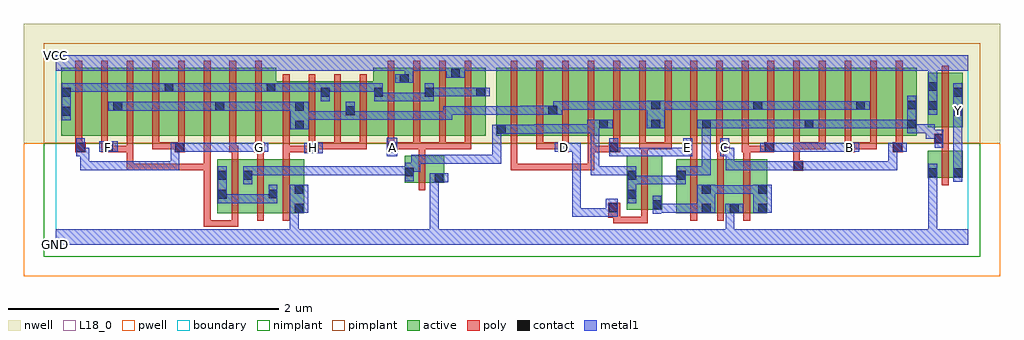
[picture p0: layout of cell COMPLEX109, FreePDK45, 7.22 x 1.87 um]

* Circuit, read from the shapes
.subckt COMPLEX109 A B C D E F G GND H VCC Y
M1 n1 F n2 VSUBS nfet w=0.4u l=0.05u
M2 n2 G n1 VSUBS nfet w=0.4u l=0.05u
M3 GND H n2 VSUBS nfet w=0.4u l=0.05u
M4 GND A n1 VSUBS nfet w=0.2u l=0.05u
M5 n3 D n1 VSUBS nfet w=0.4u l=0.05u
M6 n3 E n1 VSUBS nfet w=0.4u l=0.05u
M7 GND C n3 VSUBS nfet w=0.4u l=0.05u
M8 n3 B GND VSUBS nfet w=0.4u l=0.05u
M9 Y n1 GND VSUBS nfet w=0.2u l=0.05u
M10 n4 G n5 n6 pfet w=0.5u l=0.05u
M11 n7 F n4 n6 pfet w=0.5u l=0.05u
M12 n8 F n7 n6 pfet w=0.5u l=0.05u
M13 n5 G n8 n6 pfet w=0.5u l=0.05u
M14 n9 G n5 n6 pfet w=0.5u l=0.05u
M15 n7 F n9 n6 pfet w=0.5u l=0.05u
M16 n10 F n7 n6 pfet w=0.5u l=0.05u
M17 n5 G n10 n6 pfet w=0.5u l=0.05u
M18 n7 H n5 n6 pfet w=0.4u l=0.05u m=4
M19 VCC A n5 n6 pfet w=0.5u l=0.05u m=4
M20 n11 E n1 n6 pfet w=0.5u l=0.05u
M21 n7 D n11 n6 pfet w=0.5u l=0.05u
M22 n12 D n7 n6 pfet w=0.5u l=0.05u
M23 n1 E n12 n6 pfet w=0.5u l=0.05u
M24 n13 E n1 n6 pfet w=0.5u l=0.05u
M25 n7 D n13 n6 pfet w=0.5u l=0.05u
M26 n14 D n7 n6 pfet w=0.5u l=0.05u
M27 n1 E n14 n6 pfet w=0.5u l=0.05u
M28 n15 C n1 n6 pfet w=0.5u l=0.05u
M29 n7 B n15 n6 pfet w=0.5u l=0.05u
M30 n16 B n7 n6 pfet w=0.5u l=0.05u
M31 n1 C n16 n6 pfet w=0.5u l=0.05u
M32 n17 C n1 n6 pfet w=0.5u l=0.05u
M33 n7 B n17 n6 pfet w=0.5u l=0.05u
M34 n18 B n7 n6 pfet w=0.5u l=0.05u
M35 n1 C n18 n6 pfet w=0.5u l=0.05u
M36 Y n1 VCC n6 pfet w=0.4u l=0.05u
.ends

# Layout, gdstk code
import gdstk
lib = gdstk.Library(unit=1e-6, precision=1e-09)
def R(c, l, rs):  # rectangles x0, y0, x1, y1
    for r in rs: c.add(gdstk.rectangle(r[:2], r[2:], *l))
def A(c, l, x, y, w, h, nx, ny, dx, dy):  # array of equal rectangles
    R(c, l, [(x+i*dx, y+j*dy, x+i*dx+w, y+j*dy+h) for i in range(nx) for j in range(ny)])
active = (1, 0)
pwell = (2, 0)
nwell = (3, 0)
nimplant = (4, 0)
pimplant = (5, 0)
poly = (9, 0)
contact = (10, 0)
metal1 = (11, 0)
L18_0 = (18, 0)
boundary = (235, 0)

complex109 = lib.new_cell('COMPLEX109')
A(complex109, active, 0.04, 0.807, 0.225, 0.5, 3, 1, 0.38, 0)
A(complex109, active, 5.005, 0.807, 0.225, 0.5, 4, 1, 0.38, 0)
A(complex109, active, 5.155, 0.807, 0.23, 0.5, 3, 1, 0.38, 0)
R(complex109, active, [(1.195,0.232,1.27,0.632), (1.195,0.232,1.457,0.632), (1.382,0.232,1.645,0.632), (1.57,0.232,1.645,0.492), (1.57,0.232,1.837,0.632), (1.762,0.232,1.837,0.492), (4.59,0.232,4.85,0.632), (4.775,0.232,4.85,0.492), (4.775,0.232,5.057,0.632), (4.982,0.232,5.057,0.492), (4.982,0.232,5.265,0.632), (5.19,0.232,5.265,0.492), (4.225,0.257,4.485,0.657), (4.225,0.257,4.3,0.657), (4.41,0.257,4.485,0.657), (1.382,0.295,1.457,0.632), (4.59,0.295,4.665,0.632), (2.58,0.457,2.655,0.657), (2.58,0.457,2.872,0.657), (2.797,0.457,2.872,0.657), (6.45,0.495,6.525,0.695), (6.45,0.495,6.71,0.695), (6.635,0.495,6.71,0.695), (0.04,0.807,0.145,1.2), (0.265,0.807,0.495,1.307), (0.42,0.807,0.495,1.07), (0.645,0.807,0.875,1.307), (0.8,0.807,0.875,1.2), (1.025,0.807,1.25,1.307), (1.175,0.807,1.405,1.307), (1.175,0.807,1.25,1.07), (1.405,0.807,1.63,1.307), (1.555,0.807,1.84,1.207), (1.765,0.807,2.03,1.207), (1.955,0.807,2.215,1.207), (2.14,0.807,2.425,1.207), (2.35,0.807,2.615,1.307), (2.54,0.807,2.8,1.307), (2.54,0.807,2.615,1.307), (2.725,0.807,2.8,1.2), (2.725,0.807,2.995,1.307), (2.92,0.807,3.18,1.307), (2.92,0.807,2.995,1.307), (3.105,0.807,3.18,1.2), (3.26,0.807,3.485,1.307), (3.26,0.807,3.365,0.94), (3.485,0.807,3.715,1.307), (3.64,0.807,3.715,1.2), (3.64,0.807,3.865,1.307), (3.865,0.807,4.09,1.307), (4.015,0.807,4.245,1.307), (4.015,0.807,4.09,1.07), (4.245,0.807,4.475,1.307), (4.4,0.807,4.475,1.2), (4.4,0.807,4.625,1.307), (4.625,0.807,4.852,1.307), (4.777,0.807,4.852,1.07), (4.777,0.807,5.005,1.307), (5.155,0.807,5.23,1.2), (5.535,0.807,5.61,1.07), (5.915,0.807,5.99,1.2), (6.295,0.807,6.37,1.2), (1.765,0.822,1.84,1.07), (2.14,0.822,2.215,1.07), (6.45,0.87,6.71,1.27), (6.45,0.87,6.525,1.27), (6.635,0.87,6.71,1.2), (1.555,0.907,1.63,1.2), (1.955,0.907,2.03,1.2), (2.35,0.907,2.425,1.2)])
R(complex109, pwell, [(-0.235,-0.235,6.985,0.75)])
R(complex109, nwell, [(-0.235,0.75,6.985,1.635)])
R(complex109, nimplant, [(-0.09,-0.09,6.84,0.75)])
R(complex109, pimplant, [(-0.09,0.75,6.84,1.49)])
A(complex109, poly, 1.3, 0.177, 0.05, 0.51, 3, 1, 0.19, 0)
A(complex109, poly, 1.3, 0.637, 0.05, 0.095, 3, 1, 0.19, 0)
A(complex109, poly, 0.715, 0.707, 0.05, 0.095, 3, 1, 0.19, 0)
A(complex109, poly, 1.87, 0.707, 0.05, 0.095, 3, 1, 0.19, 0)
A(complex109, poly, 2.455, 0.707, 0.05, 0.095, 4, 1, 0.19, 0)
A(complex109, poly, 4.125, 0.707, 0.05, 0.095, 5, 1, 0.19, 0)
A(complex109, poly, 5.265, 0.707, 0.05, 0.095, 6, 1, 0.19, 0)
A(complex109, poly, 0.145, 0.752, 0.05, 0.61, 8, 1, 0.19, 0)
A(complex109, poly, 1.68, 0.752, 0.05, 0.51, 4, 1, 0.19, 0)
A(complex109, poly, 2.455, 0.752, 0.05, 0.61, 4, 1, 0.19, 0)
A(complex109, poly, 3.365, 0.752, 0.05, 0.61, 16, 1, 0.19, 0)
R(complex109, poly, [(1.095,0.132,1.145,0.182), (1.095,0.132,1.145,0.182), (1.095,0.132,1.145,0.182), (1.095,0.132,1.145,0.182), (1.095,0.132,1.145,0.182), (1.095,0.132,1.35,0.182), (1.095,0.132,1.145,0.6), (1.3,0.132,1.35,0.227), (1.3,0.132,1.35,0.182), (4.125,0.157,4.175,0.207), (4.125,0.157,4.38,0.207), (4.125,0.157,4.175,0.25), (4.33,0.157,4.38,0.252), (4.33,0.157,4.38,0.207), (4.33,0.157,4.38,0.207), (4.33,0.157,4.38,0.207), (4.695,0.177,4.745,0.687), (4.892,0.177,4.942,0.687), (5.087,0.177,5.137,0.687), (4.087,0.2,4.175,0.31), (4.125,0.2,4.175,0.25), (4.125,0.2,4.175,0.25), (4.33,0.202,4.38,0.712), (2.685,0.402,2.735,0.712), (6.555,0.44,6.605,0.75), (5.455,0.545,5.53,0.62), (0.525,0.55,0.575,0.6), (0.525,0.55,0.575,0.6), (0.525,0.55,0.575,0.6), (0.525,0.55,0.575,0.6), (0.525,0.55,0.575,0.6), (0.525,0.55,0.575,0.732), (0.525,0.55,0.707,0.6), (0.657,0.55,0.707,0.6), (0.657,0.55,0.707,0.6), (0.657,0.55,0.707,0.6), (0.657,0.55,0.897,0.6), (0.847,0.55,0.897,0.6), (0.847,0.55,0.897,0.6), (0.847,0.55,0.897,0.6), (0.847,0.55,1.145,0.6), (1.095,0.55,1.145,0.6), (1.095,0.55,1.145,0.6), (1.095,0.55,1.145,0.6), (1.095,0.55,1.145,0.6), (1.095,0.55,1.145,0.6), (1.095,0.55,1.145,0.757), (3.365,0.55,3.415,0.6), (3.365,0.55,3.415,0.6), (3.365,0.55,3.415,0.6), (3.365,0.55,3.415,0.6), (3.365,0.55,3.415,0.6), (3.365,0.55,3.415,0.6), (3.365,0.55,3.415,0.6), (3.365,0.55,3.547,0.6), (3.365,0.55,3.415,0.802), (3.497,0.55,3.547,0.6), (3.497,0.55,3.737,0.6), (3.687,0.55,3.737,0.6), (3.687,0.55,3.737,0.6), (3.687,0.55,3.737,0.6), (3.687,0.55,3.985,0.6), (3.935,0.55,3.985,0.6), (3.935,0.55,3.985,0.6), (3.935,0.55,3.985,0.6), (3.935,0.55,3.985,0.732), (5.455,0.57,5.505,0.62), (5.455,0.57,5.505,0.62), (5.455,0.57,5.505,0.757), (4.695,0.637,4.745,0.732), (4.892,0.637,4.942,0.732), (5.087,0.637,5.137,0.732), (2.685,0.662,2.735,0.757), (4.33,0.662,4.38,0.757), (0.145,0.682,0.22,0.757), (0.335,0.682,0.427,0.757), (0.377,0.682,0.427,0.732), (0.377,0.682,0.427,0.732), (0.377,0.682,0.575,0.732), (0.525,0.682,0.575,0.732), (0.525,0.682,0.575,0.802), (0.88,0.682,0.955,0.757), (1.285,0.682,1.335,0.802), (1.285,0.682,1.35,0.732), (1.467,0.682,1.542,0.757), (1.68,0.682,1.73,0.732), (1.68,0.682,1.92,0.732), (1.68,0.682,1.73,0.802), (1.87,0.682,1.945,0.757), (1.87,0.682,1.92,0.732), (1.87,0.682,1.92,0.732), (2.455,0.682,2.53,0.757), (3.72,0.682,3.795,0.757), (3.935,0.682,3.985,0.732), (3.935,0.682,3.985,0.732), (3.935,0.682,3.985,0.732), (3.935,0.682,3.985,0.802), (3.935,0.682,4.14,0.732), (4.09,0.682,4.14,0.732), (4.09,0.682,4.14,0.732), (4.09,0.682,4.175,0.757), (4.637,0.682,4.745,0.757), (4.885,0.682,4.987,0.757), (5.075,0.682,5.125,0.802), (5.075,0.682,5.137,0.732), (5.087,0.682,5.137,0.732), (5.087,0.682,5.137,0.732), (5.087,0.682,5.29,0.732), (5.24,0.682,5.315,0.757), (5.835,0.682,5.912,0.757), (6.19,0.682,6.265,0.757), (6.555,0.7,6.605,0.795), (0.145,0.707,0.195,0.802), (0.335,0.707,0.385,0.802), (0.715,0.707,0.765,0.757), (0.715,0.707,0.765,0.757), (0.715,0.707,0.765,0.757), (0.715,0.707,0.93,0.757), (1.095,0.707,1.145,0.757), (1.475,0.707,1.525,0.802), (1.895,0.707,2.11,0.757), (2.06,0.707,2.11,0.757), (2.06,0.707,2.11,0.757), (2.06,0.707,2.11,0.757), (2.06,0.707,2.3,0.757), (2.25,0.707,2.3,0.757), (2.25,0.707,2.3,0.757), (2.25,0.707,2.3,0.757), (2.48,0.707,2.53,0.757), (2.48,0.707,2.53,0.757), (2.48,0.707,2.695,0.757), (2.645,0.707,2.735,0.757), (2.685,0.707,2.885,0.757), (2.835,0.707,2.885,0.757), (2.835,0.707,2.885,0.757), (2.835,0.707,2.885,0.757), (2.835,0.707,3.075,0.757), (3.025,0.707,3.075,0.757), (3.025,0.707,3.075,0.757), (3.025,0.707,3.075,0.757), (3.555,0.707,3.605,0.802), (3.555,0.707,3.605,0.757), (3.555,0.707,3.605,0.757), (3.555,0.707,3.605,0.757), (3.555,0.707,3.77,0.757), (3.745,0.707,3.795,0.802), (4.315,0.707,4.38,0.757), (4.33,0.707,4.555,0.757), (4.505,0.707,4.555,0.757), (4.505,0.707,4.555,0.757), (4.505,0.707,4.555,0.757), (5.455,0.707,5.505,0.757), (5.455,0.707,5.505,0.757), (5.455,0.707,5.505,0.757), (5.455,0.707,5.695,0.757), (5.645,0.707,5.695,0.757), (5.862,0.707,6.075,0.757), (5.862,0.707,5.912,0.757), (5.862,0.707,5.912,0.757), (6.025,0.707,6.075,0.757), (6.497,0.745,6.605,0.82), (6.555,0.77,6.605,0.865), (6.555,0.815,6.605,1.325)])
R(complex109, contact, [(1.767,0.237,1.832,0.302), (4.78,0.237,4.845,0.302), (4.987,0.237,5.052,0.302), (5.195,0.237,5.26,0.302), (4.092,0.24,4.157,0.305), (4.415,0.262,4.48,0.327), (1.2,0.34,1.265,0.405), (4.23,0.34,4.295,0.405), (1.575,0.342,1.64,0.407), (1.767,0.377,1.832,0.442), (4.78,0.377,4.845,0.442), (5.195,0.377,5.26,0.442), (2.802,0.462,2.867,0.527), (1.2,0.48,1.265,0.545), (1.387,0.48,1.452,0.545), (4.23,0.48,4.295,0.545), (4.595,0.48,4.66,0.545), (6.455,0.5,6.52,0.565), (6.64,0.5,6.705,0.565), (2.585,0.505,2.65,0.57), (5.46,0.55,5.525,0.615), (0.15,0.687,0.215,0.752), (0.357,0.687,0.422,0.752), (0.885,0.687,0.95,0.752), (1.472,0.687,1.537,0.752), (1.875,0.687,1.94,0.752), (2.46,0.687,2.525,0.752), (3.725,0.687,3.79,0.752), (4.095,0.687,4.16,0.752), (4.642,0.687,4.707,0.752), (4.917,0.687,4.982,0.752), (5.245,0.687,5.31,0.752), (5.842,0.687,5.907,0.752), (6.195,0.687,6.26,0.752), (6.502,0.75,6.567,0.815), (3.265,0.822,3.33,0.887), (1.77,0.852,1.835,0.917), (4.02,0.86,4.085,0.925), (4.405,0.86,4.47,0.925), (4.782,0.86,4.847,0.925), (5.54,0.86,5.605,0.925), (6.3,0.86,6.365,0.925), (0.045,0.955,0.11,1.02), (6.64,0.955,6.705,1.02), (2.145,0.957,2.21,1.022), (3.645,0.962,3.71,1.027), (0.425,0.992,0.49,1.057), (1.18,0.992,1.245,1.057), (1.77,0.992,1.835,1.057), (5.16,0.997,5.225,1.062), (5.92,0.997,5.985,1.062), (6.455,0.997,6.52,1.062), (4.405,1,4.47,1.065), (6.3,1,6.365,1.065), (0.045,1.095,0.11,1.16), (1.96,1.095,2.025,1.16), (2.355,1.095,2.42,1.16), (2.73,1.095,2.795,1.16), (6.64,1.095,6.705,1.16), (3.11,1.097,3.175,1.162), (0.805,1.13,0.87,1.195), (1.56,1.13,1.625,1.195), (6.455,1.137,6.52,1.202), (2.545,1.197,2.61,1.262), (2.925,1.235,2.99,1.3)])
R(complex109, metal1, [(0,0,6.75,0.115), (1.732,0.05,1.797,0.302), (2.735,0.05,2.8,0.115), (2.735,0.05,2.8,0.115), (2.735,0.05,2.8,0.115), (2.735,0.05,2.8,0.115), (2.735,0.05,2.8,0.115), (2.735,0.05,2.832,0.115), (2.767,0.05,2.832,0.527), (4.955,0.05,5.02,0.115), (4.955,0.05,5.02,0.115), (4.955,0.05,5.02,0.302), (6.455,0.05,6.52,0.115), (6.455,0.05,6.52,0.115), (6.455,0.05,6.52,0.115), (6.455,0.05,6.52,0.115), (6.455,0.05,6.52,0.53), (3.82,0.205,3.885,0.27), (3.82,0.205,3.885,0.27), (3.82,0.205,3.885,0.27), (3.82,0.205,3.965,0.27), (3.82,0.205,3.885,0.752), (3.9,0.205,3.965,0.27), (3.9,0.205,4.135,0.27), (4.07,0.205,4.135,0.27), (4.07,0.205,4.135,0.27), (4.07,0.205,4.157,0.34), (4.415,0.227,4.48,0.362), (1.732,0.237,1.797,0.302), (1.732,0.237,1.797,0.302), (1.732,0.237,1.867,0.442), (4.415,0.237,4.48,0.302), (4.415,0.237,4.48,0.302), (4.415,0.237,4.672,0.302), (4.607,0.237,4.672,0.302), (4.607,0.237,4.672,0.302), (4.607,0.237,4.672,0.302), (4.607,0.237,4.81,0.302), (4.745,0.237,4.88,0.442), (4.952,0.237,5.087,0.302), (5.16,0.237,5.295,0.442), (1.2,0.305,1.265,0.58), (4.23,0.305,4.295,0.58), (1.2,0.307,1.265,0.372), (1.2,0.307,1.265,0.372), (1.2,0.307,1.452,0.372), (1.387,0.307,1.452,0.372), (1.387,0.307,1.452,0.372), (1.387,0.307,1.452,0.372), (1.387,0.307,1.64,0.372), (1.575,0.307,1.64,0.442), (4.815,0.375,4.88,0.44), (4.815,0.375,4.88,0.44), (4.815,0.375,5.02,0.44), (4.955,0.375,5.02,0.44), (4.955,0.375,5.12,0.44), (5.055,0.375,5.12,0.44), (5.055,0.375,5.225,0.44), (1.387,0.445,1.452,0.58), (4.23,0.445,4.297,0.51), (4.232,0.445,4.297,0.51), (4.232,0.445,4.522,0.51), (4.457,0.445,4.522,0.51), (4.457,0.445,4.522,0.51), (4.457,0.445,4.522,0.51), (4.457,0.445,4.66,0.51), (4.595,0.445,4.66,0.58), (2.767,0.462,2.902,0.527), (6.455,0.465,6.52,0.53), (6.455,0.465,6.52,0.53), (6.455,0.465,6.52,0.6), (6.64,0.465,6.705,0.6), (2.585,0.47,2.65,0.605), (1.387,0.515,1.452,0.58), (1.387,0.515,1.452,0.58), (1.387,0.515,1.59,0.58), (1.525,0.515,1.59,0.58), (1.525,0.515,1.59,0.58), (1.525,0.515,1.59,0.58), (1.525,0.515,1.887,0.58), (1.822,0.515,1.887,0.58), (1.822,0.515,1.887,0.58), (1.822,0.515,1.887,0.58), (1.822,0.515,2.025,0.58), (1.96,0.515,2.025,0.58), (1.96,0.515,2.025,0.58), (1.96,0.515,2.025,0.58), (1.96,0.515,2.162,0.58), (2.097,0.515,2.162,0.58), (2.097,0.515,2.162,0.58), (2.097,0.515,2.162,0.58), (2.097,0.515,2.385,0.58), (2.32,0.515,2.385,0.58), (2.32,0.515,2.512,0.58), (2.447,0.515,2.512,0.58), (2.447,0.515,2.65,0.58), (3.957,0.515,4.022,0.58), (3.957,0.515,4.022,0.925), (3.957,0.515,4.155,0.58), (4.09,0.515,4.155,0.58), (4.09,0.515,4.295,0.58), (4.595,0.515,4.66,0.58), (4.595,0.515,4.66,0.58), (4.595,0.515,4.845,0.58), (4.78,0.515,4.845,0.58), (4.78,0.515,4.845,0.925), (6.64,0.535,6.705,0.985), (2.585,0.54,2.695,0.605), (2.63,0.54,2.695,0.665), (0.182,0.55,0.247,0.615), (0.182,0.55,0.385,0.615), (0.182,0.55,0.247,0.717), (0.32,0.55,0.385,0.615), (0.32,0.55,0.385,0.615), (0.32,0.55,0.385,0.615), (0.32,0.55,0.522,0.615), (0.457,0.55,0.522,0.615), (0.457,0.55,0.662,0.615), (0.597,0.55,0.662,0.615), (0.597,0.55,0.662,0.615), (0.597,0.55,0.662,0.615), (0.597,0.55,0.915,0.615), (0.85,0.55,0.915,0.615), (0.85,0.55,0.915,0.752), (4.955,0.55,5.02,0.615), (4.955,0.55,5.122,0.615), (4.955,0.55,5.02,0.717), (5.057,0.55,5.122,0.615), (5.057,0.55,5.26,0.615), (5.195,0.55,5.26,0.615), (5.195,0.55,5.26,0.615), (5.195,0.55,5.26,0.615), (5.195,0.55,5.397,0.615), (5.332,0.55,5.397,0.615), (5.332,0.55,5.397,0.615), (5.332,0.55,5.397,0.615), (5.332,0.55,5.49,0.615), (5.425,0.55,5.56,0.615), (5.495,0.55,5.56,0.615), (5.495,0.55,5.56,0.615), (5.495,0.55,5.707,0.615), (5.642,0.55,5.707,0.615), (5.642,0.55,5.812,0.615), (5.747,0.55,5.812,0.615), (5.747,0.55,5.95,0.615), (5.885,0.55,5.95,0.615), (5.885,0.55,5.982,0.615), (5.917,0.55,5.982,0.615), (5.917,0.55,6.087,0.615), (6.022,0.55,6.087,0.615), (6.022,0.55,6.225,0.615), (6.16,0.55,6.225,0.615), (6.16,0.55,6.225,0.615), (6.16,0.55,6.225,0.615), (6.16,0.55,6.225,0.752), (2.63,0.6,2.787,0.665), (2.722,0.6,2.787,0.665), (2.722,0.6,3.002,0.665), (2.937,0.6,3.002,0.665), (2.937,0.6,3.002,0.665), (2.937,0.6,3.002,0.665), (2.937,0.6,3.14,0.665), (3.075,0.6,3.14,0.665), (3.075,0.6,3.295,0.665), (3.23,0.6,3.295,0.665), (3.23,0.6,3.295,0.887), (0.15,0.652,0.215,0.787), (0.15,0.652,0.247,0.717), (0.182,0.652,0.247,0.717), (2.447,0.652,2.525,0.79), (4.095,0.652,4.16,0.787), (4.095,0.652,4.297,0.717), (4.232,0.652,4.297,0.717), (4.232,0.652,4.297,0.717), (4.232,0.652,4.297,0.717), (4.232,0.652,4.522,0.717), (4.457,0.652,4.522,0.717), (4.457,0.652,4.522,0.717), (4.457,0.652,4.522,0.717), (4.457,0.652,4.672,0.717), (4.607,0.652,4.672,0.717), (4.607,0.652,4.707,0.717), (4.642,0.652,4.707,0.787), (4.917,0.652,4.982,0.787), (4.917,0.652,5.02,0.717), (4.955,0.652,5.02,0.717), (1.837,0.675,1.975,0.752), (0.322,0.687,0.457,0.765), (0.85,0.687,0.915,0.752), (0.85,0.687,0.915,0.752), (0.85,0.687,0.985,0.752), (0.92,0.687,1.072,0.752), (1.007,0.687,1.072,0.752), (1.007,0.687,1.122,0.752), (1.057,0.687,1.122,0.752), (1.057,0.687,1.26,0.752), (1.195,0.687,1.26,0.752), (1.195,0.687,1.26,0.752), (1.195,0.687,1.26,0.752), (1.195,0.687,1.452,0.752), (1.387,0.687,1.452,0.752), (1.387,0.687,1.502,0.752), (1.437,0.687,1.572,0.752), (3.69,0.687,3.827,0.752), (3.762,0.687,3.885,0.752), (3.82,0.687,3.885,0.752), (3.82,0.687,3.885,0.752), (3.82,0.687,3.885,0.752), (5.21,0.687,5.345,0.752), (5.28,0.687,5.397,0.752), (5.332,0.687,5.397,0.752), (5.332,0.687,5.57,0.752), (5.505,0.687,5.57,0.752), (5.505,0.687,5.57,0.752), (5.505,0.687,5.57,0.752), (5.505,0.687,5.707,0.752), (5.642,0.687,5.707,0.752), (5.642,0.687,5.812,0.752), (5.747,0.687,5.812,0.752), (5.747,0.687,5.872,0.752), (5.807,0.687,5.942,0.752), (6.16,0.687,6.225,0.752), (6.16,0.687,6.225,0.752), (6.16,0.687,6.295,0.752), (6.502,0.715,6.567,0.85), (6.437,0.785,6.502,0.85), (6.437,0.785,6.567,0.85), (6.437,0.785,6.502,0.89), (3.23,0.822,3.295,0.887), (3.23,0.822,3.295,0.887), (3.23,0.822,3.295,0.887), (3.23,0.822,3.295,0.887), (3.23,0.822,3.365,0.887), (3.3,0.822,3.467,0.887), (3.402,0.822,3.467,0.887), (3.402,0.822,3.532,0.887), (3.467,0.822,3.532,0.887), (3.467,0.822,3.605,0.887), (3.54,0.822,3.605,0.89), (3.54,0.825,3.747,0.89), (3.682,0.825,3.747,0.89), (3.682,0.825,3.747,0.89), (3.682,0.825,3.747,0.89), (3.682,0.825,3.885,0.89), (3.82,0.825,3.885,0.89), (3.82,0.825,3.997,0.89), (3.932,0.825,3.997,0.925), (6.3,0.825,6.365,1.1), (6.3,0.825,6.502,0.89), (6.437,0.825,6.502,0.89), (1.735,0.852,1.87,1.057), (3.932,0.86,4.022,0.925), (3.957,0.86,4.022,0.925), (3.957,0.86,4.022,0.925), (3.957,0.86,4.12,0.925), (4.37,0.86,4.505,1.065), (4.747,0.86,4.882,0.925), (4.78,0.86,4.845,0.925), (4.78,0.86,4.845,0.925), (4.817,0.86,4.882,0.925), (4.817,0.86,4.882,0.925), (4.817,0.86,5.02,0.925), (4.955,0.86,5.02,0.925), (4.955,0.86,5.122,0.925), (5.057,0.86,5.122,0.925), (5.057,0.86,5.157,0.925), (5.092,0.86,5.157,0.925), (5.092,0.86,5.352,0.925), (5.287,0.86,5.352,0.925), (5.287,0.86,5.397,0.925), (5.332,0.86,5.397,0.925), (5.332,0.86,5.57,0.925), (5.505,0.86,5.57,0.925), (5.505,0.86,5.57,0.925), (5.505,0.86,5.64,0.925), (5.575,0.86,5.707,0.925), (5.642,0.86,5.707,0.925), (5.642,0.86,5.812,0.925), (5.747,0.86,5.812,0.925), (5.747,0.86,5.95,0.925), (5.885,0.86,5.95,0.925), (5.885,0.86,5.95,0.925), (5.885,0.86,5.95,0.925), (5.885,0.86,6.087,0.925), (6.022,0.86,6.087,0.925), (6.022,0.86,6.12,0.925), (6.055,0.86,6.12,0.925), (6.055,0.86,6.365,0.925), (6.3,0.86,6.365,0.925), (6.3,0.86,6.365,0.925), (0.045,0.92,0.11,1.195), (6.64,0.92,6.705,0.985), (6.64,0.92,6.705,0.985), (6.64,0.92,6.705,0.985), (6.64,0.92,6.705,0.985), (6.64,0.92,6.707,1.195), (1.805,0.922,1.87,0.987), (1.805,0.922,1.87,0.987), (1.805,0.922,2.025,0.987), (1.96,0.922,2.025,0.987), (1.96,0.922,2.025,0.987), (1.96,0.922,2.025,0.987), (1.96,0.922,2.21,0.987), (2.145,0.922,2.21,1.057), (2.145,0.922,2.375,0.987), (2.31,0.922,2.375,0.987), (2.31,0.922,2.375,0.987), (2.31,0.922,2.375,0.987), (2.31,0.922,2.557,0.987), (2.492,0.922,2.557,0.987), (2.492,0.922,2.557,0.987), (2.492,0.922,2.557,0.987), (2.492,0.922,2.787,0.987), (2.722,0.922,2.787,0.987), (2.722,0.922,2.787,0.987), (2.722,0.922,2.787,0.987), (2.722,0.922,2.932,0.987), (2.867,0.922,2.932,0.987), (2.867,0.922,2.932,0.987), (2.867,0.922,2.932,1.025), (2.867,0.96,3.14,1.025), (3.075,0.96,3.14,1.025), (3.075,0.96,3.33,1.025), (3.265,0.96,3.33,1.025), (3.265,0.96,3.33,1.025), (3.265,0.96,3.33,1.025), (3.265,0.96,3.467,1.025), (3.402,0.96,3.467,1.025), (3.402,0.96,3.502,1.025), (3.437,0.96,3.502,1.027), (3.437,0.962,3.605,1.027), (3.54,0.962,3.605,1.027), (3.54,0.962,3.675,1.027), (3.61,0.962,3.745,1.027), (3.68,0.962,3.745,1.027), (3.68,0.962,3.745,1.062), (6.455,0.962,6.52,1.237), (0.39,0.992,0.525,1.057), (0.46,0.992,0.525,1.057), (0.46,0.992,0.525,1.057), (0.46,0.992,0.662,1.057), (0.597,0.992,0.662,1.057), (0.597,0.992,0.662,1.057), (0.597,0.992,0.662,1.057), (0.597,0.992,0.8,1.057), (0.735,0.992,0.8,1.057), (0.735,0.992,0.8,1.057), (0.735,0.992,0.8,1.057), (0.735,0.992,1.072,1.057), (1.007,0.992,1.072,1.057), (1.007,0.992,1.122,1.057), (1.057,0.992,1.122,1.057), (1.057,0.992,1.21,1.057), (1.145,0.992,1.28,1.057), (1.215,0.992,1.28,1.057), (1.215,0.992,1.28,1.057), (1.215,0.992,1.452,1.057), (1.387,0.992,1.452,1.057), (1.387,0.992,1.452,1.057), (1.387,0.992,1.452,1.057), (1.387,0.992,1.59,1.057), (1.525,0.992,1.59,1.057), (1.525,0.992,1.59,1.057), (1.525,0.992,1.59,1.057), (1.525,0.992,1.8,1.057), (3.68,0.997,3.885,1.062), (3.82,0.997,3.885,1.062), (3.82,0.997,3.965,1.062), (3.9,0.997,3.965,1.062), (3.9,0.997,4.157,1.062), (4.092,0.997,4.157,1.062), (4.092,0.997,4.157,1.062), (4.092,0.997,4.157,1.062), (4.092,0.997,4.297,1.062), (4.232,0.997,4.297,1.062), (4.232,0.997,4.297,1.062), (4.232,0.997,4.297,1.062), (4.232,0.997,4.435,1.062), (4.44,0.997,4.505,1.062), (4.44,0.997,4.505,1.062), (4.44,0.997,4.672,1.062), (4.607,0.997,4.672,1.062), (4.607,0.997,4.672,1.062), (4.607,0.997,4.672,1.062), (4.607,0.997,4.88,1.062), (4.815,0.997,4.88,1.062), (4.815,0.997,4.88,1.062), (4.815,0.997,4.88,1.062), (4.815,0.997,5.02,1.062), (4.955,0.997,5.02,1.062), (4.955,0.997,5.12,1.062), (5.055,0.997,5.12,1.062), (5.055,0.997,5.19,1.062), (5.125,0.997,5.26,1.062), (5.195,0.997,5.26,1.062), (5.195,0.997,5.26,1.062), (5.195,0.997,5.397,1.062), (5.332,0.997,5.397,1.062), (5.332,0.997,5.57,1.062), (5.505,0.997,5.57,1.062), (5.505,0.997,5.57,1.062), (5.505,0.997,5.57,1.062), (5.505,0.997,5.707,1.062), (5.642,0.997,5.707,1.062), (5.642,0.997,5.812,1.062), (5.747,0.997,5.812,1.062), (5.747,0.997,5.95,1.062), (5.885,0.997,5.95,1.062), (5.885,0.997,5.95,1.062), (5.885,0.997,6.02,1.062), (1.96,1.06,2.025,1.195), (2.355,1.06,2.42,1.195), (2.355,1.06,2.557,1.125), (2.492,1.06,2.557,1.125), (2.492,1.06,2.557,1.125), (2.492,1.06,2.557,1.125), (2.492,1.06,2.795,1.125), (2.73,1.06,2.795,1.125), (2.73,1.06,2.795,1.125), (2.73,1.06,2.795,1.195), (2.73,1.097,3.002,1.162), (2.937,1.097,3.002,1.162), (2.937,1.097,3.002,1.162), (2.937,1.097,3.002,1.162), (2.937,1.097,3.14,1.162), (3.075,1.097,3.14,1.162), (3.075,1.097,3.14,1.162), (3.075,1.097,3.21,1.162), (0.045,1.13,0.11,1.195), (0.045,1.13,0.11,1.195), (0.045,1.13,0.247,1.195), (0.182,1.13,0.247,1.195), (0.182,1.13,0.385,1.195), (0.32,1.13,0.385,1.195), (0.32,1.13,0.385,1.195), (0.32,1.13,0.385,1.195), (0.32,1.13,0.522,1.195), (0.457,1.13,0.522,1.195), (0.457,1.13,0.662,1.195), (0.597,1.13,0.662,1.195), (0.597,1.13,0.662,1.195), (0.597,1.13,0.662,1.195), (0.597,1.13,0.835,1.195), (0.77,1.13,0.905,1.195), (0.84,1.13,0.905,1.195), (0.84,1.13,0.905,1.195), (0.84,1.13,1.072,1.195), (1.007,1.13,1.072,1.195), (1.007,1.13,1.122,1.195), (1.057,1.13,1.122,1.195), (1.057,1.13,1.28,1.195), (1.215,1.13,1.28,1.195), (1.215,1.13,1.28,1.195), (1.215,1.13,1.28,1.195), (1.215,1.13,1.417,1.195), (1.352,1.13,1.417,1.195), (1.352,1.13,1.417,1.195), (1.352,1.13,1.417,1.195), (1.352,1.13,1.59,1.195), (1.525,1.13,1.66,1.195), (1.595,1.13,1.66,1.195), (1.595,1.13,1.66,1.195), (1.595,1.13,1.887,1.195), (1.822,1.13,1.887,1.195), (1.822,1.13,1.887,1.195), (1.822,1.13,1.887,1.195), (1.822,1.13,2.025,1.195), (1.96,1.13,2.025,1.195), (1.96,1.13,2.025,1.195), (1.96,1.13,2.237,1.195), (2.172,1.13,2.237,1.195), (2.172,1.13,2.237,1.195), (2.172,1.13,2.237,1.195), (2.172,1.13,2.42,1.195), (6.455,1.172,6.52,1.35), (2.51,1.197,2.645,1.262), (2.58,1.197,2.645,1.35), (2.89,1.235,3.025,1.3), (2.96,1.235,3.025,1.35), (0,1.285,6.75,1.4)])
R(complex109, L18_0, [(0,0,6.75,0.115), (1.732,0.05,1.797,0.302), (2.735,0.05,2.8,0.115), (2.735,0.05,2.8,0.115), (2.735,0.05,2.8,0.115), (2.735,0.05,2.8,0.115), (2.735,0.05,2.8,0.115), (2.735,0.05,2.832,0.115), (2.767,0.05,2.832,0.527), (4.955,0.05,5.02,0.115), (4.955,0.05,5.02,0.115), (4.955,0.05,5.02,0.302), (6.455,0.05,6.52,0.115), (6.455,0.05,6.52,0.115), (6.455,0.05,6.52,0.115), (6.455,0.05,6.52,0.115), (6.455,0.05,6.52,0.53), (3.82,0.205,3.885,0.27), (3.82,0.205,3.885,0.27), (3.82,0.205,3.885,0.27), (3.82,0.205,3.885,0.752), (3.82,0.205,3.965,0.27), (3.9,0.205,3.965,0.27), (3.9,0.205,4.135,0.27), (4.07,0.205,4.135,0.27), (4.07,0.205,4.135,0.27), (4.07,0.205,4.157,0.34), (1.732,0.237,1.797,0.302), (1.732,0.237,1.797,0.302), (1.732,0.237,1.867,0.442), (4.952,0.237,5.087,0.302), (2.767,0.462,2.902,0.527), (6.455,0.465,6.52,0.6), (6.455,0.465,6.52,0.53), (6.455,0.465,6.52,0.53), (6.64,0.465,6.705,0.6), (6.64,0.535,6.705,0.985), (0.182,0.55,0.247,0.615), (0.182,0.55,0.247,0.717), (0.182,0.55,0.385,0.615), (0.32,0.55,0.385,0.615), (0.32,0.55,0.385,0.615), (0.32,0.55,0.385,0.615), (0.32,0.55,0.522,0.615), (0.457,0.55,0.522,0.615), (0.457,0.55,0.662,0.615), (0.597,0.55,0.662,0.615), (0.597,0.55,0.662,0.615), (0.597,0.55,0.662,0.615), (0.597,0.55,0.915,0.615), (0.85,0.55,0.915,0.615), (0.85,0.55,0.915,0.752), (4.955,0.55,5.02,0.615), (4.955,0.55,5.02,0.717), (4.955,0.55,5.122,0.615), (5.057,0.55,5.122,0.615), (5.057,0.55,5.26,0.615), (5.195,0.55,5.26,0.615), (5.195,0.55,5.26,0.615), (5.195,0.55,5.26,0.615), (5.195,0.55,5.397,0.615), (5.332,0.55,5.397,0.615), (5.332,0.55,5.397,0.615), (5.332,0.55,5.397,0.615), (5.332,0.55,5.49,0.615), (5.425,0.55,5.56,0.615), (5.495,0.55,5.56,0.615), (5.495,0.55,5.56,0.615), (5.495,0.55,5.707,0.615), (5.642,0.55,5.707,0.615), (5.642,0.55,5.812,0.615), (5.747,0.55,5.812,0.615), (5.747,0.55,5.95,0.615), (5.885,0.55,5.95,0.615), (5.885,0.55,5.982,0.615), (5.917,0.55,5.982,0.615), (5.917,0.55,6.087,0.615), (6.022,0.55,6.087,0.615), (6.022,0.55,6.225,0.615), (6.16,0.55,6.225,0.615), (6.16,0.55,6.225,0.615), (6.16,0.55,6.225,0.615), (6.16,0.55,6.225,0.752), (0.15,0.652,0.215,0.787), (0.15,0.652,0.247,0.717), (0.182,0.652,0.247,0.717), (2.447,0.652,2.525,0.79), (4.095,0.652,4.16,0.787), (4.095,0.652,4.297,0.717), (4.232,0.652,4.297,0.717), (4.232,0.652,4.297,0.717), (4.232,0.652,4.297,0.717), (4.232,0.652,4.522,0.717), (4.457,0.652,4.522,0.717), (4.457,0.652,4.522,0.717), (4.457,0.652,4.522,0.717), (4.457,0.652,4.672,0.717), (4.607,0.652,4.672,0.717), (4.607,0.652,4.707,0.717), (4.642,0.652,4.707,0.787), (4.917,0.652,4.982,0.787), (4.917,0.652,5.02,0.717), (4.955,0.652,5.02,0.717), (1.837,0.675,1.975,0.752), (0.322,0.687,0.457,0.765), (0.357,0.687,0.422,0.752), (0.85,0.687,0.915,0.752), (0.85,0.687,0.915,0.752), (0.85,0.687,0.985,0.752), (0.92,0.687,1.072,0.752), (1.007,0.687,1.072,0.752), (1.007,0.687,1.122,0.752), (1.057,0.687,1.122,0.752), (1.057,0.687,1.26,0.752), (1.195,0.687,1.26,0.752), (1.195,0.687,1.26,0.752), (1.195,0.687,1.26,0.752), (1.195,0.687,1.452,0.752), (1.387,0.687,1.452,0.752), (1.387,0.687,1.502,0.752), (1.437,0.687,1.572,0.752), (1.472,0.687,1.537,0.752), (1.872,0.687,1.937,0.752), (2.457,0.687,2.522,0.752), (3.69,0.687,3.827,0.752), (3.727,0.687,3.792,0.752), (3.762,0.687,3.885,0.752), (3.82,0.687,3.885,0.752), (3.82,0.687,3.885,0.752), (3.82,0.687,3.885,0.752), (4.642,0.687,4.707,0.752), (4.917,0.687,4.982,0.752), (5.21,0.687,5.345,0.752), (5.28,0.687,5.397,0.752), (5.332,0.687,5.397,0.752), (5.332,0.687,5.57,0.752), (5.505,0.687,5.57,0.752), (5.505,0.687,5.57,0.752), (5.505,0.687,5.57,0.752), (5.505,0.687,5.707,0.752), (5.642,0.687,5.707,0.752), (5.642,0.687,5.812,0.752), (5.747,0.687,5.812,0.752), (5.747,0.687,5.872,0.752), (5.807,0.687,5.942,0.752), (5.842,0.687,5.907,0.752), (6.16,0.687,6.225,0.752), (6.16,0.687,6.225,0.752), (6.16,0.687,6.295,0.752), (6.64,0.92,6.705,0.985), (6.64,0.92,6.705,0.985), (6.64,0.92,6.705,0.985), (6.64,0.92,6.705,0.985), (6.64,0.92,6.707,1.195), (6.642,0.957,6.707,1.022), (6.455,0.962,6.52,1.237), (6.455,1.172,6.52,1.35), (2.51,1.197,2.645,1.262), (2.58,1.197,2.645,1.35), (2.89,1.235,3.025,1.3), (2.96,1.235,3.025,1.35), (0,1.285,6.75,1.4)])
R(complex109, boundary, [(0,0,6.75,1.4)])
complex109.add(gdstk.Label('A', (2.49,0.72), layer=11, texttype=0))
complex109.add(gdstk.Label('B', (5.875,0.72), layer=11, texttype=0))
complex109.add(gdstk.Label('C', (4.95,0.72), layer=11, texttype=0))
complex109.add(gdstk.Label('D', (3.76,0.72), layer=11, texttype=0))
complex109.add(gdstk.Label('E', (4.675,0.72), layer=11, texttype=0))
complex109.add(gdstk.Label('F', (0.39,0.72), layer=11, texttype=0))
complex109.add(gdstk.Label('G', (1.505,0.72), layer=11, texttype=0))
complex109.add(gdstk.Label('H', (1.905,0.72), layer=11, texttype=0))
complex109.add(gdstk.Label('Y', (6.675,0.99), layer=11, texttype=0))
complex109.add(gdstk.Label('VCC', (0,1.4), layer=11, texttype=0))
complex109.add(gdstk.Label('GND', (0,0), layer=11, texttype=0))

lib.write_gds('COMPLEX109.gds')
